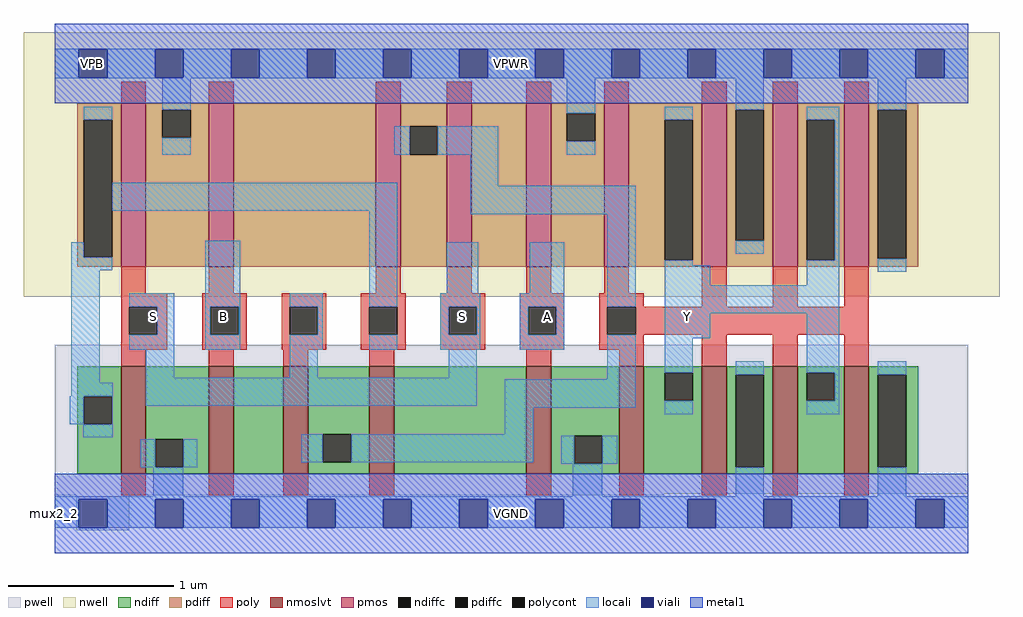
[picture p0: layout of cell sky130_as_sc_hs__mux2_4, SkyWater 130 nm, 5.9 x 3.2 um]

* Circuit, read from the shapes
.subckt sky130_as_sc_hs__mux2_4 VNB VPB VPWR VGND S B A Y
XM1 VGND S n1 VNB sky130_fd_pr__nfet_01v8_lvt w=0.65 l=0.15
XM2 n2 B VGND VNB sky130_fd_pr__nfet_01v8_lvt w=0.65 l=0.15
XM3 n3 S n2 VNB sky130_fd_pr__nfet_01v8_lvt w=0.65 l=0.15
XM4 n4 n1 n3 VNB sky130_fd_pr__nfet_01v8_lvt w=0.65 l=0.15
XM5 VGND A n4 VNB sky130_fd_pr__nfet_01v8_lvt w=0.65 l=0.15
XM6 Y n3 VGND VNB sky130_fd_pr__nfet_01v8_lvt w=0.65 l=0.15 m=4
XM7 VPWR S n1 VPB sky130_fd_pr__pfet_01v8 w=0.99 l=0.15
XM8 n5 B VPWR VPB sky130_fd_pr__pfet_01v8 w=0.99 l=0.15
XM9 n3 n1 n5 VPB sky130_fd_pr__pfet_01v8 w=0.99 l=0.15
XM10 n6 S n3 VPB sky130_fd_pr__pfet_01v8 w=0.99 l=0.15
XM11 VPWR A n6 VPB sky130_fd_pr__pfet_01v8 w=0.99 l=0.15
XM12 Y n3 VPWR VPB sky130_fd_pr__pfet_01v8 w=0.99 l=0.15 m=4
.ends

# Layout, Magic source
magic
tech sky130A
magscale 1 2
<< nwell >>
rect -38 262 1142 582
<< pwell >>
rect 0 24 1104 204
rect 0 22 736 24
rect 26 -20 90 22
<< pmos >>
rect 80 298 110 496
rect 186 298 216 496
rect 388 298 418 496
rect 474 298 504 496
rect 570 298 600 496
rect 664 298 694 496
rect 782 298 812 496
rect 868 298 898 496
rect 954 298 984 496
<< nmoslvt >>
rect 80 48 110 178
rect 186 48 216 178
rect 276 48 306 178
rect 380 48 410 178
rect 570 48 600 178
rect 682 48 712 178
rect 782 48 812 178
rect 868 48 898 178
rect 954 48 984 178
<< ndiff >>
rect 27 142 80 178
rect 27 108 35 142
rect 69 108 80 142
rect 27 48 80 108
rect 110 90 186 178
rect 110 56 121 90
rect 155 56 186 90
rect 110 48 186 56
rect 216 48 276 178
rect 306 96 380 178
rect 306 62 324 96
rect 358 62 380 96
rect 306 48 380 62
rect 410 48 570 178
rect 600 94 682 178
rect 600 60 628 94
rect 662 60 682 94
rect 600 48 682 60
rect 712 170 782 178
rect 712 136 737 170
rect 771 136 782 170
rect 712 48 782 136
rect 812 168 868 178
rect 812 56 823 168
rect 857 56 868 168
rect 812 48 868 56
rect 898 170 954 178
rect 898 136 909 170
rect 943 136 954 170
rect 898 48 954 136
rect 984 168 1044 178
rect 984 56 995 168
rect 1029 56 1044 168
rect 984 48 1044 56
<< pdiff >>
rect 27 476 80 496
rect 27 310 35 476
rect 69 310 80 476
rect 27 298 80 310
rect 110 488 186 496
rect 110 454 130 488
rect 164 454 186 488
rect 110 298 186 454
rect 216 298 388 496
rect 418 468 474 496
rect 418 434 429 468
rect 463 434 474 468
rect 418 298 474 434
rect 504 298 570 496
rect 600 484 664 496
rect 600 450 619 484
rect 653 450 664 484
rect 600 298 664 450
rect 694 476 782 496
rect 694 306 737 476
rect 771 306 782 476
rect 694 298 782 306
rect 812 488 868 496
rect 812 330 823 488
rect 857 330 868 488
rect 812 298 868 330
rect 898 476 954 496
rect 898 306 909 476
rect 943 306 954 476
rect 898 298 954 306
rect 984 488 1044 496
rect 984 308 995 488
rect 1029 308 1044 488
rect 984 298 1044 308
<< ndiffc >>
rect 35 108 69 142
rect 121 56 155 90
rect 324 62 358 96
rect 628 60 662 94
rect 737 136 771 170
rect 823 56 857 168
rect 909 136 943 170
rect 995 56 1029 168
<< pdiffc >>
rect 35 310 69 476
rect 130 454 164 488
rect 429 434 463 468
rect 619 450 653 484
rect 737 306 771 476
rect 823 330 857 488
rect 909 306 943 476
rect 995 308 1029 488
<< poly >>
rect 80 496 110 522
rect 186 496 216 522
rect 388 496 418 522
rect 474 496 504 522
rect 570 496 600 522
rect 664 496 694 522
rect 782 496 812 522
rect 868 496 898 522
rect 954 496 984 522
rect 80 266 110 298
rect 186 266 216 298
rect 388 266 418 298
rect 474 266 504 298
rect 570 266 600 298
rect 664 266 694 298
rect 80 250 136 266
rect 80 216 90 250
rect 124 216 136 250
rect 80 198 136 216
rect 178 250 232 266
rect 178 216 188 250
rect 222 216 232 250
rect 178 198 232 216
rect 274 250 328 266
rect 274 216 284 250
rect 318 216 328 250
rect 274 198 328 216
rect 370 250 424 266
rect 370 216 380 250
rect 414 216 424 250
rect 370 198 424 216
rect 466 250 520 266
rect 466 216 476 250
rect 510 216 520 250
rect 466 198 520 216
rect 562 250 616 266
rect 562 216 572 250
rect 606 216 616 250
rect 562 198 616 216
rect 658 250 712 266
rect 782 250 812 298
rect 868 250 898 298
rect 954 250 984 298
rect 658 216 668 250
rect 702 216 984 250
rect 658 198 712 216
rect 80 178 110 198
rect 186 178 216 198
rect 276 178 306 198
rect 380 178 410 198
rect 570 178 600 198
rect 682 178 712 198
rect 782 178 812 216
rect 868 178 898 216
rect 954 178 984 216
rect 80 22 110 48
rect 186 22 216 48
rect 276 22 306 48
rect 380 22 410 48
rect 570 22 600 48
rect 682 22 712 48
rect 782 22 812 48
rect 868 22 898 48
rect 954 22 984 48
<< polycont >>
rect 90 216 124 250
rect 188 216 222 250
rect 284 216 318 250
rect 380 216 414 250
rect 476 216 510 250
rect 572 216 606 250
rect 668 216 702 250
<< locali >>
rect 0 561 1104 562
rect 0 527 29 561
rect 63 527 121 561
rect 155 527 213 561
rect 247 527 305 561
rect 339 527 397 561
rect 431 527 489 561
rect 523 527 581 561
rect 615 527 673 561
rect 707 527 765 561
rect 799 527 857 561
rect 891 527 949 561
rect 983 527 1041 561
rect 1075 527 1104 561
rect 0 526 1104 527
rect 35 476 69 492
rect 20 310 35 328
rect 130 488 164 526
rect 619 484 653 526
rect 130 434 164 454
rect 410 434 429 468
rect 463 434 536 468
rect 619 434 653 450
rect 737 476 771 492
rect 69 366 414 400
rect 20 294 69 310
rect 20 158 54 294
rect 90 250 144 266
rect 124 216 144 250
rect 90 198 144 216
rect 182 250 224 330
rect 182 216 188 250
rect 222 216 224 250
rect 182 198 224 216
rect 284 250 324 266
rect 318 216 324 250
rect 284 198 324 216
rect 380 250 414 366
rect 502 396 536 434
rect 502 362 702 396
rect 474 266 512 328
rect 574 266 616 328
rect 380 198 414 216
rect 466 250 514 266
rect 466 216 476 250
rect 510 216 514 250
rect 466 198 514 216
rect 562 250 616 266
rect 562 216 572 250
rect 606 216 616 250
rect 562 198 616 216
rect 668 250 702 362
rect 110 164 144 198
rect 284 164 318 198
rect 476 164 510 198
rect 20 142 70 158
rect 18 108 35 142
rect 69 108 70 142
rect 110 130 510 164
rect 668 162 702 216
rect 34 92 70 108
rect 544 128 702 162
rect 823 488 857 526
rect 823 314 857 330
rect 909 476 948 492
rect 737 300 771 306
rect 943 306 948 476
rect 737 276 792 300
rect 909 276 948 306
rect 995 488 1029 526
rect 995 292 1029 308
rect 737 242 948 276
rect 737 212 792 242
rect 737 170 771 212
rect 544 96 578 128
rect 737 120 771 136
rect 823 168 857 184
rect 104 56 121 90
rect 155 56 172 90
rect 298 62 324 96
rect 358 62 578 96
rect 612 60 628 94
rect 662 60 680 94
rect 119 21 155 56
rect 626 21 662 60
rect 909 170 948 242
rect 943 136 948 170
rect 909 120 948 136
rect 995 168 1029 184
rect 823 21 857 56
rect 995 21 1029 56
rect 0 17 1104 21
rect 0 -17 29 17
rect 63 -17 121 17
rect 155 -17 213 17
rect 247 -17 305 17
rect 339 -17 397 17
rect 431 -17 489 17
rect 523 -17 581 17
rect 615 -17 673 17
rect 707 -17 765 17
rect 799 -17 857 17
rect 891 -17 949 17
rect 983 -17 1041 17
rect 1075 -17 1104 17
<< viali >>
rect 29 527 63 561
rect 121 527 155 561
rect 213 527 247 561
rect 305 527 339 561
rect 397 527 431 561
rect 489 527 523 561
rect 581 527 615 561
rect 673 527 707 561
rect 765 527 799 561
rect 857 527 891 561
rect 949 527 983 561
rect 1041 527 1075 561
rect 29 -17 63 17
rect 121 -17 155 17
rect 213 -17 247 17
rect 305 -17 339 17
rect 397 -17 431 17
rect 489 -17 523 17
rect 581 -17 615 17
rect 673 -17 707 17
rect 765 -17 799 17
rect 857 -17 891 17
rect 949 -17 983 17
rect 1041 -17 1075 17
<< metal1 >>
rect 0 561 1104 592
rect 0 527 29 561
rect 63 527 121 561
rect 155 527 213 561
rect 247 527 305 561
rect 339 527 397 561
rect 431 527 489 561
rect 523 527 581 561
rect 615 527 673 561
rect 707 527 765 561
rect 799 527 857 561
rect 891 527 949 561
rect 983 527 1041 561
rect 1075 527 1104 561
rect 0 496 1104 527
rect 0 17 1104 48
rect 0 -17 29 17
rect 63 -17 121 17
rect 155 -17 213 17
rect 247 -17 305 17
rect 339 -17 397 17
rect 431 -17 489 17
rect 523 -17 581 17
rect 615 -17 673 17
rect 707 -17 765 17
rect 799 -17 857 17
rect 891 -17 949 17
rect 983 -17 1041 17
rect 1075 -17 1104 17
rect 0 -48 1104 -17
<< labels >>
rlabel comment s 0 0 0 0 4 mux2_2
flabel pwell s 29 -17 63 17 0 FreeSans 200 0 0 0 VNB
port 1 nsew ground bidirectional
flabel pwell s 46 0 46 0 0 FreeSans 200 0 0 0 VNB
flabel nwell s 29 527 63 561 0 FreeSans 200 0 0 0 VPB
port 2 nsew power bidirectional
flabel nwell s 46 544 46 544 0 FreeSans 200 0 0 0 VPB
flabel metal1 s 29 527 63 561 0 FreeSans 200 0 0 0 VPWR
port 3 nsew power bidirectional abutment
flabel metal1 s 29 -17 63 17 0 FreeSans 200 0 0 0 VGND
port 4 nsew ground bidirectional abutment
rlabel metal1 s 0 -48 1104 48 1 VGND
port 4 nsew ground bidirectional abutment
rlabel metal1 s 0 496 1104 592 1 VPWR
port 3 nsew power bidirectional abutment
flabel locali s 102 221 136 255 0 FreeSans 200 0 0 0 S
port 5 nsew signal input
flabel locali s 119 238 119 238 0 FreeSans 200 0 0 0 S
flabel locali s 187 221 221 255 0 FreeSans 200 0 0 0 B
port 6 nsew signal input
flabel locali s 204 238 204 238 0 FreeSans 200 0 0 0 B
flabel locali s 476 221 510 255 0 FreeSans 200 0 0 0 S
port 5 nsew signal input
flabel locali s 493 238 493 238 0 FreeSans 200 0 0 0 S
flabel locali s 578 221 612 255 0 FreeSans 200 0 0 0 A
port 7 nsew signal input
flabel locali s 595 238 595 238 0 FreeSans 200 0 0 0 A
flabel locali s 748 221 782 255 0 FreeSans 200 0 0 0 Y
port 8 nsew signal output
flabel locali s 765 238 765 238 0 FreeSans 200 0 0 0 Y
<< properties >>
string FIXED_BBOX 0 0 1104 544
string GDS_FILE $PDKPATH/libs.ref/sky130_as_sc_hs/gds/sky130_as_sc_hs__mux2_2.gds
string LEFclass CORE
string LEFsite unithd
string LEFsymmetry X Y R90
string MASKHINTS_LVTN 0 -4 1104 214
string MASKHINTS_NSDM 0 -38 1104 204
string MASKHINTS_PSDM 0 272 1104 582
<< end >>
